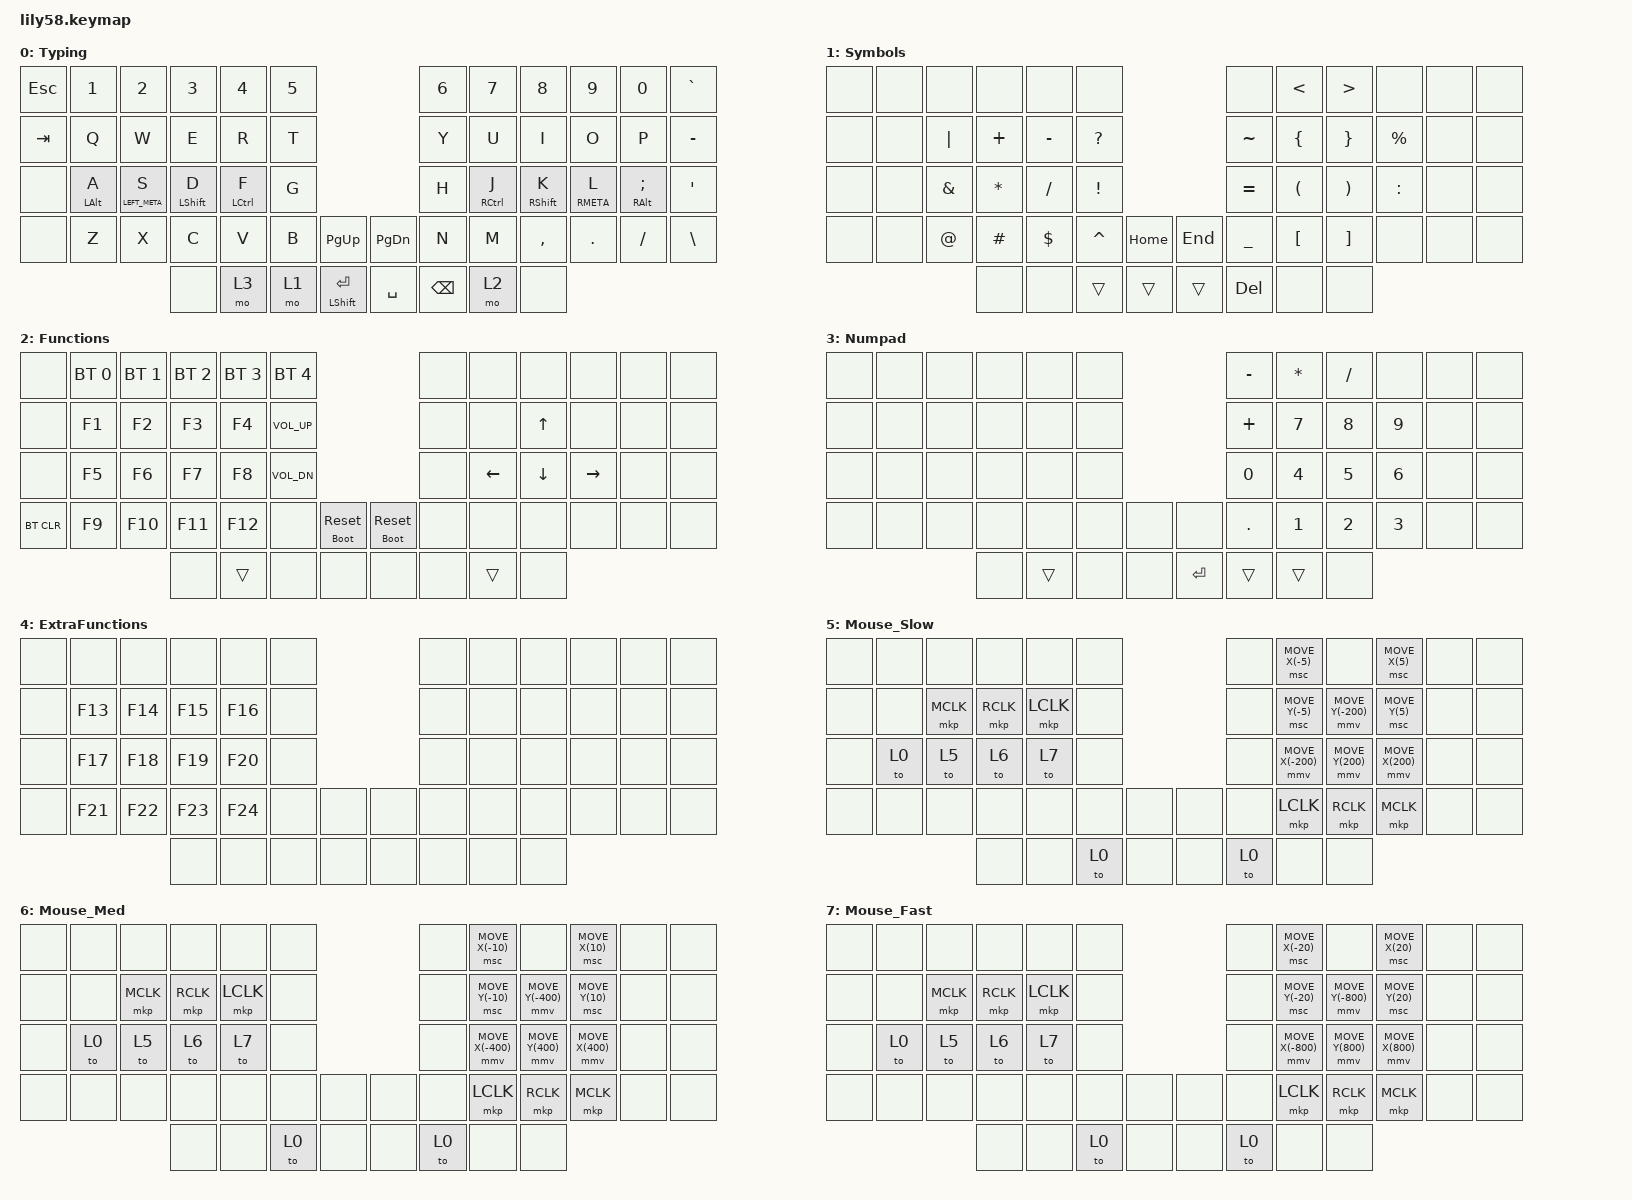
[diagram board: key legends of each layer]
/*
 * Copyright (c) 2020 The ZMK Contributors
 *
 * SPDX-License-Identifier: MIT
 */

#include <behaviors.dtsi>
#include <dt-bindings/zmk/bt.h>
#include <dt-bindings/zmk/keys.h>
#include <dt-bindings/zmk/pointing.h>


&mt {
    flavor = "hold-preferred";
    tapping-term-ms = <200>;
    quick-tap-ms = <125>;
};


&mmv {
  time-to-max-speed-ms = <500>;
  acceleration-exponent = <2>;
};


/ {
  behaviors {
    hm: homerow_mods {
      compatible = "zmk,behavior-hold-tap";
      #binding-cells = <2>;
      flavor = "balanced";
	  require-prior-idle-ms = <50>;
      tapping-term-ms = <150>;
      quick-tap-ms = <150>;
      bindings =  <&kp>, <&kp>;
    };

    rst_boot: reset_or_bootloader {
      compatible = "zmk,behavior-hold-tap";
      #binding-cells = <2>;
      flavor = "tap-preferred";
      tapping-term-ms = <1000>;
      bindings = <&bootloader>, <&sys_reset>;
    };
  };
};


/*
 * Mod chords (needs the mod-chords ZMK fork, see config/west.yml).
 *
 * If home-row mods and one regular key all go down within timeout-ms, in any
 * order, send the modified key without waiting on hold-tap timing. Only
 * arms after require-prior-idle-ms without a key press, so typing rolls
 * mid-word aren't turned into shortcuts.
 */
/ {
  mod_chords {
    compatible = "zmk,mod-chords";
    mod-behaviors = <&hm>;
    key-behaviors = <&kp>;
    timeout-ms = <30>;
    require-prior-idle-ms = <150>;
    layers = <0>;
  };
};


/ {
  combos {
    compatible = "zmk,combos";
    combo_F9 {
      timeout-ms = <50>;
      key-positions = <53 54>;
      bindings = <&kp F9>;
      require-prior-idle-ms = <150>;
    };

	mouse-layer {
	  timeout-ms = <50>;
	  key-positions = <52 55>;
	  bindings = <&to 6>;
	  require-prior-idle-ms = <150>;
    };
  };
};


/ {
  conditional_layers {
    compatible = "zmk,conditional-layers";
    extra_functions {
      if-layers = <2 3>;
      then-layer = <4>;
    };
  };
};


/ {
    keymap {
        compatible = "zmk,keymap";

        Typing { // 0
            bindings = <
&kp ESC  &kp N1          &kp N2           &kp N3        &kp N4       &kp N5                                   &kp N6         &kp N7       &kp N8        &kp N9       &kp N0              &kp GRAVE
&kp TAB  &kp Q           &kp W            &kp E         &kp R        &kp T                                    &kp Y          &kp U        &kp I         &kp O        &kp P               &kp MINUS
&none    &hm LEFT_ALT A  &hm LEFT_META S  &hm LSHIFT D  &hm LCTRL F  &kp G                                    &kp H          &hm RCTRL J  &hm RSHIFT K  &hm RMETA L  &hm RALT SEMICOLON  &kp SQT
&none    &kp Z           &kp X            &kp C         &kp V        &kp B   &kp PAGE_UP       &kp PAGE_DOWN  &kp N          &kp M        &kp COMMA     &kp DOT      &kp FSLH            &kp BACKSLASH
                                          &none         &mo 3        &mo 1   &mt LSHIFT RET    &kp SPACE      &kp BACKSPACE  &mo 2        &none
            >;
        };

        Symbols { // 1
            bindings = <
&none  &none  &none          &none         &none      &none                           &none          &kp LT    &kp GT    &none        &none  &none
&none  &none  &kp PIPE       &kp PLUS      &kp MINUS  &kp QMARK                       &kp TILDE      &kp LBRC  &kp RBRC  &kp PERCENT  &none  &none
&none  &none  &kp AMPERSAND  &kp ASTERISK  &kp SLASH  &kp EXCL                        &kp EQUAL      &kp LPAR  &kp RPAR  &kp COLON    &none  &none
&none  &none  &kp AT         &kp HASH      &kp DOLLAR &kp CARET  &kp HOME    &kp END  &kp UNDER      &kp LBKT  &kp RBKT  &none        &none  &none
                             &none         &none      &trans     &trans      &trans   &kp DEL        &none     &none
            >;
        };

        Functions { // 2
            bindings = <
&none       &bt BT_SEL 0  &bt BT_SEL 1  &bt BT_SEL 2  &bt BT_SEL 3  &bt BT_SEL 4                                  &none  &none     &none     &none      &none  &none
&none       &kp F1        &kp F2        &kp F3        &kp F4        &kp C_VOLUME_UP                               &none  &none     &kp UP    &none      &none  &none
&none       &kp F5        &kp F6        &kp F7        &kp F8        &kp C_VOL_DN                                  &none  &kp LEFT  &kp DOWN  &kp RIGHT  &none  &none
&bt BT_CLR  &kp F9        &kp F10       &kp F11       &kp F12       &none            &rst_boot 0 0 &rst_boot 0 0  &none  &none     &none     &none      &none  &none
                                        &none         &trans        &none            &none         &none          &none  &trans    &none
            >;
        };

        Numpad { // 3
            bindings = <
&none  &none  &none  &none  &none   &none                    &kp MINUS   &kp STAR  &kp FSLH  &none   &none  &none
&none  &none  &none  &none  &none   &none                    &kp PLUS    &kp N7    &kp N8    &kp N9  &none  &none
&none  &none  &none  &none  &none   &none                    &kp N0      &kp N4    &kp N5    &kp N6  &none  &none
&none  &none  &none  &none  &none   &none  &none    &none    &kp DOT     &kp N1    &kp N2    &kp N3  &none  &none
                     &none  &trans  &none  &none    &kp RET  &trans      &trans     &none
            >;
        };

        ExtraFunctions { // 4
          bindings = <
&none &none   &none   &none   &none   &none                 &none &none &none &none &none &none
&none &kp F13 &kp F14 &kp F15 &kp F16 &none                 &none &none &none &none &none &none
&none &kp F17 &kp F18 &kp F19 &kp F20 &none                 &none &none &none &none &none &none
&none &kp F21 &kp F22 &kp F23 &kp F24 &none &none     &none &none &none &none &none &none &none
                      &none   &none   &none &none     &none &none &none &none
          >;
        };

        Mouse_Slow {  // 5
          bindings = <
 	&none &none &none &none &none &none                 &none &msc MOVE_X(-5) &none            &msc MOVE_X(5) &none &none
	&none &none &mkp MCLK &mkp RCLK &mkp LCLK &none                 &none &msc MOVE_Y(-5) &mmv MOVE_Y(-200) &msc MOVE_Y(5) &none &none
	&none &to 0 &to 5 &to 6 &to 7 &none                 &none &mmv MOVE_X(-200) &mmv MOVE_Y(200)  &mmv MOVE_X(200) &none &none
	&none &none &none &none &none &none &none     &none &none &mkp LCLK        &mkp RCLK        &mkp MCLK       &none &none
                      &none &none &to 0 &none     &none &to 0 &none            &none
          >;
        };

        Mouse_Med {  // 6
          bindings = <
 	&none &none &none &none &none &none                 &none &msc MOVE_X(-10) &none            &msc MOVE_X(10) &none &none
	&none &none &mkp MCLK &mkp RCLK &mkp LCLK &none                 &none &msc MOVE_Y(-10) &mmv MOVE_Y(-400) &msc MOVE_Y(10) &none &none
	&none &to 0 &to 5 &to 6 &to 7 &none                 &none &mmv MOVE_X(-400) &mmv MOVE_Y(400)  &mmv MOVE_X(400) &none &none
	&none &none &none &none &none &none &none     &none &none &mkp LCLK        &mkp RCLK        &mkp MCLK       &none &none
                      &none &none &to 0 &none     &none &to 0 &none            &none
          >;
        };

        Mouse_Fast {  // 7
          bindings = <
 	&none &none &none &none &none &none                 &none &msc MOVE_X(-20) &none            &msc MOVE_X(20) &none &none
	&none &none &mkp MCLK &mkp RCLK &mkp LCLK &none                 &none &msc MOVE_Y(-20) &mmv MOVE_Y(-800) &msc MOVE_Y(20) &none &none
	&none &to 0 &to 5 &to 6 &to 7 &none                 &none &mmv MOVE_X(-800) &mmv MOVE_Y(800)  &mmv MOVE_X(800) &none &none
	&none &none &none &none &none &none &none     &none &none &mkp LCLK        &mkp RCLK        &mkp MCLK       &none &none
                      &none &none &to 0 &none     &none &to 0 &none            &none
          >;
        };
    };
};
